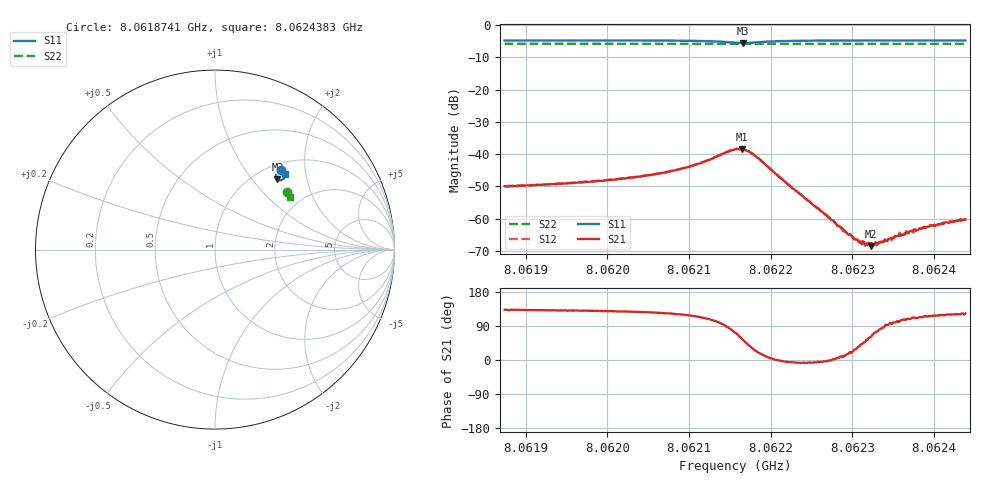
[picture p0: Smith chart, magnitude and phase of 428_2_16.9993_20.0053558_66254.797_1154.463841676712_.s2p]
#  HZ  S  RI  R  50.00
! Rohde & Schwarz Vector Network Analyzer
! Rohde-Schwarz,ZNB20-2Port,1311601062101988,3.16
! Created: UTC 3/20/2024, 11:11:14 PM
! freq[Hz]  re:S11  im:S11  re:S21  im:S21  re:S12  im:S12  re:S22  im:S22
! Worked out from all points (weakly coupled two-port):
!   401 points, 8.0618741 GHz to 8.0624383 GHz, reference 50 ohm
!   highest |S21| = -38.43 dB at 8.0621647 GHz (marker M1); lowest = -68.6 dB at 8.0623226 GHz (marker M2)
!   lowest |S11| = -5.6 dB at 8.0621661 GHz (marker M3), VSWR 3.21, Z = 62.6 + j67.8 ohm
!   |S11| at or under -10 dB: nowhere
!   |S22| runs from -5.9 to -5.8 dB; largest |S21 - S12| = 0.00094
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8.06187412e9  0.3691 0.4424  -0.00215 0.00233  -0.00197 0.00251  0.4003 0.3191
8.06196861e9  0.3758 0.4362  -0.00235 0.00279  -0.00219 0.00293  0.4038 0.3143
8.0620081e9  0.3789 0.4329  -0.00251 0.00316  -0.00234 0.00334  0.4052 0.3123
8.06206311e9  0.3838 0.4262  -0.00282 0.00412  -0.00259 0.00431  0.4073 0.3093
8.06210683e9  0.3878 0.4155  -0.00295 0.00606  -0.00253 0.00632  0.4087 0.3068
8.06215619e9  0.3642 0.3868  0.00359 0.0113  0.00432 0.0111  0.409 0.3034
8.06216465e9  0.3502 0.3909  0.0068 0.00987  0.00732 0.00952  0.4087 0.3035
8.06216606e9  0.3482 0.3925  0.00707 0.00937  0.00762 0.00906  0.4086 0.3036
8.06217594e9  0.3396 0.4075  0.00858 0.00574  0.00903 0.00533  0.4089 0.3037
8.06218299e9  0.3404 0.4181  0.00829 0.00341  0.00857 0.00296  0.4094 0.304
8.06222248e9  0.3628 0.4356  0.00327 -0.000323  0.00327 -0.000517  0.4117 0.3024
8.06225069e9  0.3716 0.4346  0.00165 -0.000203  0.00169 -0.000287  0.4131 0.3011
8.062293e9  0.379 0.4317  0.000587 0.000154  0.000604 8.24e-05  0.4149 0.2988
8.06230569e9  0.3806 0.4307  0.000405 0.000252  0.000385 0.000211  0.4152 0.2981
8.06231697e9  0.3818 0.43  0.000243 0.000331  0.000237 0.000303  0.4158 0.2974
8.06232262e9  0.3825 0.4296  0.000182 0.000326  0.000237 0.000343  0.4159 0.2971
8.06232826e9  0.383 0.4292  0.000128 0.000409  0.000151 0.000397  0.4162 0.2969
8.06234518e9  0.3847 0.4281  -4.6e-05 0.000479  -2.83e-06 0.000459  0.4167 0.2959
8.06236352e9  0.3864 0.4269  -0.000164 0.000535  -0.000123 0.00057  0.4175 0.2951
8.06238467e9  0.388 0.4256  -0.00028 0.000652  -0.000244 0.00066  0.4183 0.294
8.06241852e9  0.3907 0.4237  -0.000428 0.00075  -0.000407 0.000809  0.4194 0.2921
8.06243827e9  0.3919 0.4225  -0.000526 0.000816  -0.000475 0.000821  0.4201 0.291
